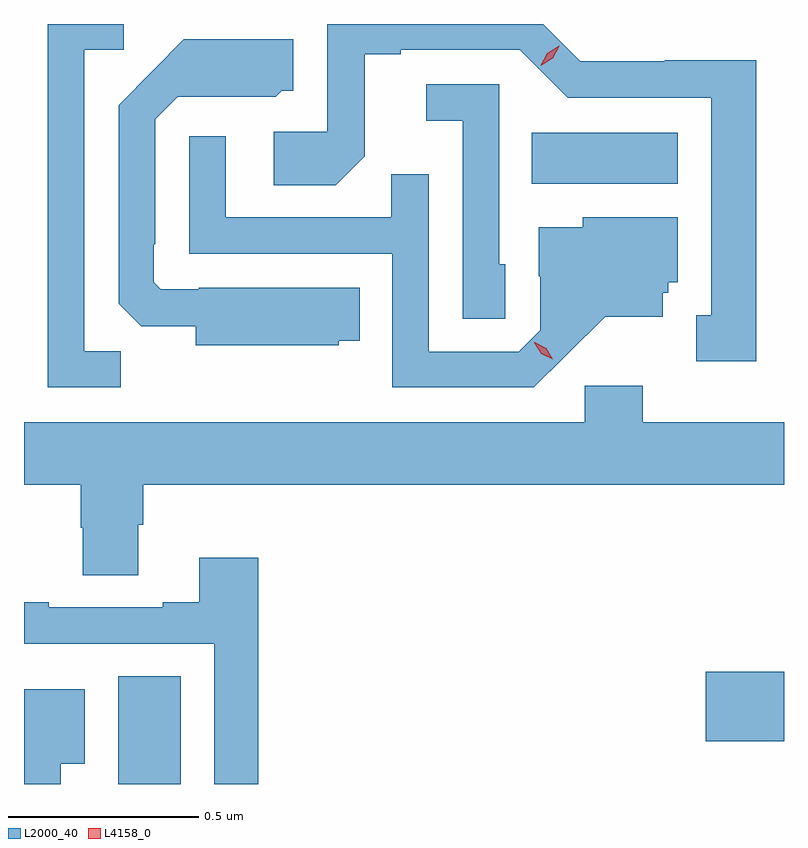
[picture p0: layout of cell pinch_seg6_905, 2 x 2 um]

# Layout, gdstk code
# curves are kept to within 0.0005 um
import gdstk
lib = gdstk.Library(unit=1e-6, precision=1e-09)
def R(c, l, rs):  # rectangles x0, y0, x1, y1
    for r in rs: c.add(gdstk.rectangle(r[:2], r[2:], *l))
def P(c, l, *ps):  # polygons
    for p in ps: c.add(gdstk.Polygon(p, *l))
L2000_40 = (2000, 40)
L4158_0 = (4158, 0)

pinch_seg6_905 = lib.new_cell('pinch_seg6_905')
R(pinch_seg6_905, L2000_40, [(142.052,985.176,142.216,985.46), (143.598,985.289,143.804,985.472), (143.14,986.756,143.524,986.89)])
P(pinch_seg6_905, L2000_40, [(143.731,987.08),(143.49,987.08),(143.49,987.078),(143.268,987.078),(143.17,987.176),(142.602,987.176),(142.602,986.892),(142.461,986.892),(142.461,986.752),(142.625,986.752),(142.701,986.828),(142.701,987.096),(142.795,987.096),(142.795,987.108),(143.109,987.108),(143.235,986.982),(143.612,986.982),(143.612,986.409),(143.573,986.409),(143.573,986.289),(143.731,986.289)],
  [(142.059,986.315),(141.963,986.315),(141.963,987.108),(142.066,987.108),(142.066,987.176),(141.867,987.176),(141.867,986.22),(142.059,986.22)],
  [(142.632,986.342),(142.688,986.342),(142.688,986.482),(142.264,986.482),(142.264,986.478),(142.164,986.478),(142.146,986.496),(142.146,986.596),(142.149,986.596),(142.149,986.925),(142.209,986.985),(142.332,986.985),(142.332,986.984),(142.466,986.984),(142.482,987),(142.513,987),(142.513,987.136),(142.225,987.136),(142.053,986.962),(142.053,986.44),(142.112,986.381),(142.256,986.381),(142.256,986.33),(142.632,986.33)],
  [(143.07,986.544),(143.055,986.544),(143.055,987.018),(142.863,987.018),(142.863,986.921),(142.959,986.921),(142.959,986.401),(143.07,986.401)],
  [(143.23,986.303),(143.333,986.405),(143.485,986.405),(143.485,986.469),(143.499,986.469),(143.499,986.496),(143.524,986.496),(143.524,986.668),(143.274,986.668),(143.274,986.641),(143.159,986.641),(143.159,986.512),(143.163,986.512),(143.163,986.37),(143.106,986.313),(142.869,986.313),(142.869,986.78),(142.771,986.78),(142.771,986.667),(142.335,986.667),(142.335,986.881),(142.239,986.881),(142.239,986.571),(142.773,986.571),(142.773,986.22),(143.146,986.22)],
  [(142.105,985.858),(142.118,985.858),(142.118,985.964),(143.804,985.964),(143.804,986.128),(143.432,986.128),(143.432,986.224),(143.28,986.224),(143.28,986.128),(141.804,986.128),(141.804,985.964),(141.953,985.964),(141.953,985.851),(141.958,985.851),(141.958,985.726),(142.105,985.726)],
  [(142.421,985.771),(142.265,985.771),(142.265,985.654),(142.169,985.654),(142.169,985.641),(141.869,985.641),(141.869,985.654),(141.804,985.654),(141.804,985.545),(142.305,985.545),(142.305,985.176),(142.421,985.176)],
  [(141.901,985.229),(141.964,985.229),(141.964,985.426),(141.804,985.426),(141.804,985.176),(141.901,985.176)])
P(pinch_seg6_905, L4158_0, [(143.164,987.066),(143.164,987.067),(143.181,987.099),(143.212,987.119),(143.212,987.119),(143.212,987.118),(143.196,987.086),(143.164,987.066)],
  [(143.196,986.294),(143.165,986.308),(143.147,986.337),(143.147,986.338),(143.148,986.338),(143.178,986.323),(143.196,986.294),(143.196,986.294)])

lib.write_gds('pinch_seg6_905.gds')
